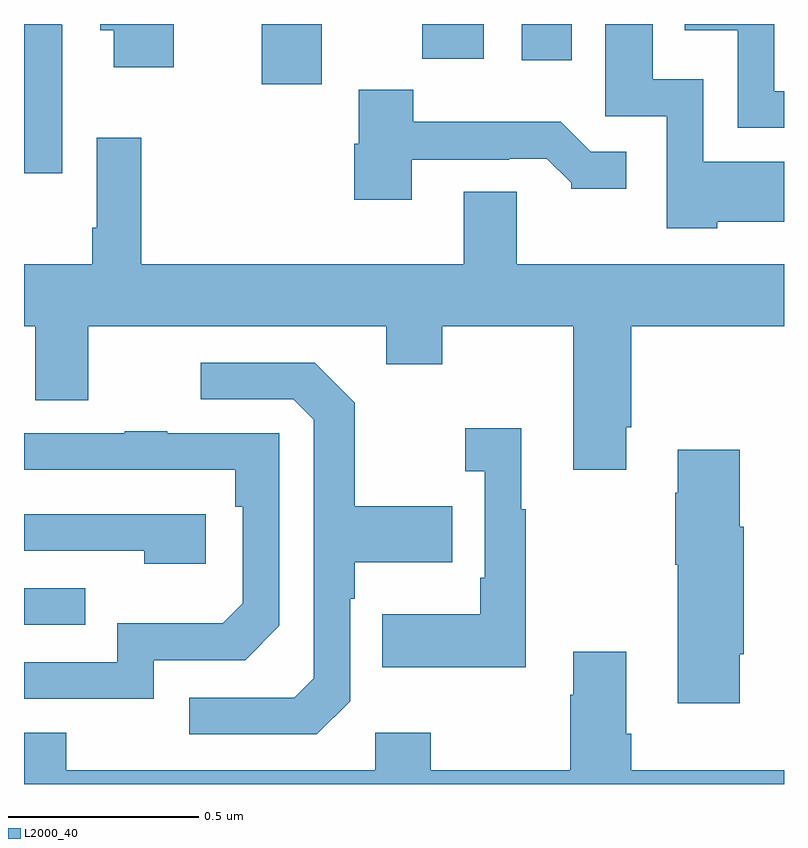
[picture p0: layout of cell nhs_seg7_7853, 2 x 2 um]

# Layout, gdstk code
import gdstk
lib = gdstk.Library(unit=1e-6, precision=1e-09)
def R(c, l, rs):  # rectangles x0, y0, x1, y1
    for r in rs: c.add(gdstk.rectangle(r[:2], r[2:], *l))
def P(c, l, *ps):  # polygons
    for p in ps: c.add(gdstk.Polygon(p, *l))
L2000_40 = (2000, 40)

nhs_seg7_7853 = lib.new_cell('nhs_seg7_7853')
R(nhs_seg7_7853, L2000_40, [(216,1078.419,216.161,1078.515), (216.626,1079.841,216.784,1080), (217.31,1079.904,217.441,1080), (217.048,1079.909,217.21,1080)])
P(nhs_seg7_7853, L2000_40, [(218,1079.823),(217.974,1079.823),(217.974,1080),(217.739,1080),(217.739,1079.984),(217.878,1079.984),(217.878,1079.727),(218,1079.727)],
  [(216.394,1080),(216.2,1080),(216.2,1079.984),(216.236,1079.984),(216.236,1079.886),(216.394,1079.886)],
  [(216.1,1079.998),(216.098,1080),(216,1080),(216,1079.607),(216.1,1079.607)],
  [(217.824,1079.48),(218,1079.48),(218,1079.638),(217.788,1079.638),(217.788,1079.854),(217.654,1079.854),(217.654,1080),(217.529,1080),(217.529,1079.757),(217.692,1079.757),(217.692,1079.462),(217.824,1079.462)],
  [(217.021,1079.643),(217.277,1079.643),(217.277,1079.646),(217.376,1079.646),(217.44,1079.582),(217.44,1079.567),(217.585,1079.567),(217.585,1079.664),(217.491,1079.664),(217.413,1079.743),(217.024,1079.743),(217.024,1079.827),(216.881,1079.827),(216.881,1079.685),(216.869,1079.685),(216.869,1079.538),(217.021,1079.538)],
  [(217.585,1078.939),(217.598,1078.939),(217.598,1079.204),(218,1079.204),(218,1079.368),(217.297,1079.368),(217.297,1079.558),(217.157,1079.558),(217.157,1079.368),(216.308,1079.368),(216.308,1079.701),(216.192,1079.701),(216.192,1079.464),(216.18,1079.464),(216.18,1079.368),(216,1079.368),(216,1079.204),(216.029,1079.204),(216.029,1079.01),(216.169,1079.01),(216.169,1079.204),(216.953,1079.204),(216.953,1079.105),(217.101,1079.105),(217.101,1079.204),(217.445,1079.204),(217.445,1078.827),(217.585,1078.827)],
  [(216.858,1078.218),(216.858,1078.487),(216.871,1078.487),(216.871,1078.583),(217.127,1078.583),(217.127,1078.731),(216.871,1078.731),(216.871,1079.003),(216.765,1079.109),(216.465,1079.109),(216.465,1079.013),(216.708,1079.013),(216.762,1078.959),(216.762,1078.278),(216.711,1078.227),(216.435,1078.227),(216.435,1078.131),(216.771,1078.131)],
  [(217.321,1078.723),(217.309,1078.723),(217.309,1078.936),(217.161,1078.936),(217.161,1078.823),(217.212,1078.823),(217.212,1078.543),(217.2,1078.543),(217.2,1078.447),(216.943,1078.447),(216.943,1078.307),(217.321,1078.307)],
  [(216.342,1078.326),(216.582,1078.326),(216.672,1078.416),(216.672,1078.923),(216.377,1078.923),(216.377,1078.928),(216.265,1078.928),(216.265,1078.923),(216,1078.923),(216,1078.827),(216.556,1078.827),(216.556,1078.73),(216.576,1078.73),(216.576,1078.476),(216.523,1078.423),(216.246,1078.423),(216.246,1078.32),(216,1078.32),(216,1078.224),(216.342,1078.224)],
  [(217.884,1078.341),(217.894,1078.341),(217.894,1078.677),(217.884,1078.677),(217.884,1078.879),(217.721,1078.879),(217.721,1078.766),(217.714,1078.766),(217.714,1078.577),(217.721,1078.577),(217.721,1078.212),(217.884,1078.212)],
  [(216.478,1078.71),(216,1078.71),(216,1078.614),(216.317,1078.614),(216.317,1078.58),(216.478,1078.58)],
  [(218,1078.036),(217.598,1078.036),(217.598,1078.132),(217.585,1078.132),(217.585,1078.348),(217.445,1078.348),(217.445,1078.235),(217.438,1078.235),(217.438,1078.036),(217.071,1078.036),(217.071,1078.135),(216.924,1078.135),(216.924,1078.036),(216.111,1078.036),(216.111,1078.135),(216,1078.135),(216,1078),(218,1078)])

lib.write_gds('nhs_seg7_7853.gds')
